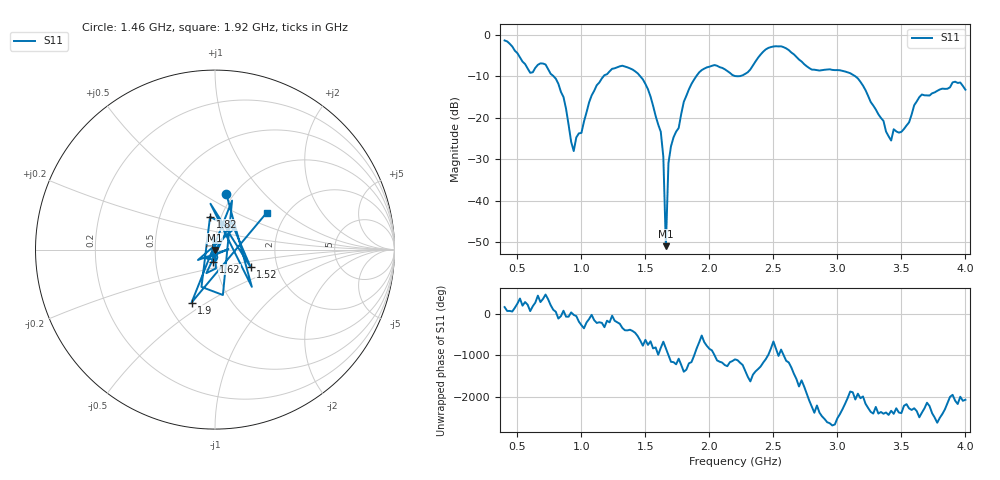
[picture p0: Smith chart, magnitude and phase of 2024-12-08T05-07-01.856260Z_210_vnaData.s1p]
!Created with skrf (http://scikit-rf.org).
# Hz S RI R 50.0
!freq ReS11 ImS11
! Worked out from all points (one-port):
!   181 points, 400 MHz to 4 GHz, reference 50 ohm
!   lowest |S11| = -51.0 dB at 1.66 GHz (marker M1), VSWR 1.01, Z = 49.9 - j0.267 ohm
!   |S11| at or under -10 dB: 783.9 MHz to 1.172 GHz (388.3 MHz wide, 39.7 % of centre); 1.46 GHz to 1.896 GHz (436 MHz wide, 26 % of centre); 3.141 GHz to end of sweep
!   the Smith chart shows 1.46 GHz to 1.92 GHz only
!   S11 on the Smith chart (normalised r, x): 1.46 GHz: 0.92, +0.64; 1.52 GHz: 1.46, -0.30; 1.62 GHz: 0.97, -0.13; 1.82 GHz: 0.89, +0.34; 1.9 GHz: 0.66, -0.43; 1.92 GHz: 1.59, +0.75
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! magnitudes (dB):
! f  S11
! 400 MHz  -1.3
! 600 MHz  -9.1
! 720 MHz  -7.1
! 860 MHz  -15.0
! 940 MHz  -28.0
! 1.12 GHz  -12.1
! 1.3 GHz  -7.6
! 1.46 GHz  -10.0
! 1.52 GHz  -13.1
! 1.62 GHz  -23.4
! 1.64 GHz  -29.4
! 1.66 GHz  -51.0
! 1.68 GHz  -31.0
! 1.76 GHz  -22.5
! 1.82 GHz  -14.7
! 1.9 GHz  -9.8
! 1.92 GHz  -9.0
! 2.04 GHz  -7.3
! 2.2 GHz  -9.9
! 2.46 GHz  -3.1
! 2.66 GHz  -4.7
! 2.8 GHz  -8.3
! 3.1 GHz  -9.2
! 3.42 GHz  -25.5
! 3.56 GHz  -21.1
! 3.66 GHz  -14.4
! 3.92 GHz  -11.3
! 4 GHz  -13.2
